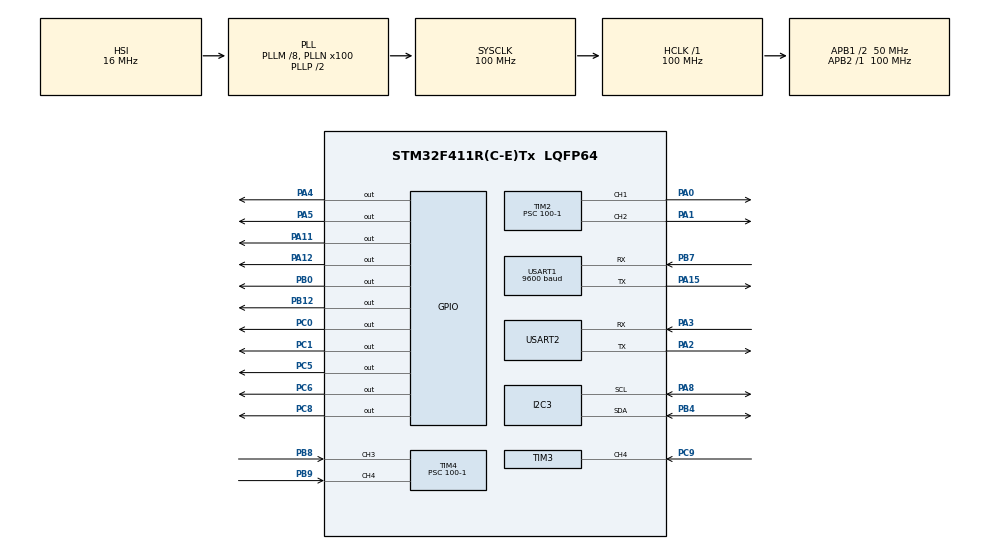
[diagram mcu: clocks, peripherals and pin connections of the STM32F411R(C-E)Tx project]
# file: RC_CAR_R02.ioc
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Mcu.Family=STM32F4
Mcu.Name=STM32F411R(C-E)Tx
Mcu.Package=LQFP64
NVIC.PriorityGroup=NVIC_PRIORITYGROUP_4
NVIC.TIM3_IRQn=true\:0\:0\:false\:false\:true\:true\:true\:true
NVIC.TIM4_IRQn=true\:0\:0\:false\:false\:true\:true\:true\:true
NVIC.USART1_IRQn=true\:0\:0\:false\:false\:true\:true\:true\:true
NVIC.USART2_IRQn=true\:0\:0\:false\:false\:true\:true\:true\:true
PA0-WKUP.Signal=S_TIM2_CH1_ETR
PA1.Signal=S_TIM2_CH2
PA11.Signal=GPIO_Output
PA12.Signal=GPIO_Output
PA13.Mode=Serial_Wire
PA13.Signal=SYS_JTMS-SWDIO
PA14.Mode=Serial_Wire
PA14.Signal=SYS_JTCK-SWCLK
PA15.Mode=Asynchronous
PA15.Signal=USART1_TX
PA2.Mode=Asynchronous
PA2.Signal=USART2_TX
PA3.Mode=Asynchronous
PA3.Signal=USART2_RX
PA4.Signal=GPIO_Output
PA5.Signal=GPIO_Output
PA8.GPIO_Pu=GPIO_PULLUP
PA8.Mode=I2C
PA8.Signal=I2C3_SCL
PB0.Signal=GPIO_Output
PB12.Signal=GPIO_Output
PB4.GPIO_Pu=GPIO_PULLUP
PB4.Mode=I2C
PB4.Signal=I2C3_SDA
PB7.Mode=Asynchronous
PB7.Signal=USART1_RX
PB8.Signal=S_TIM4_CH3
PB9.Signal=S_TIM4_CH4
PC0.Signal=GPIO_Output
PC1.Signal=GPIO_Output
PC5.Signal=GPIO_Output
PC6.Signal=GPIO_Output
PC8.Signal=GPIO_Output
PC9.Signal=S_TIM3_CH4
ProjectManager.HeapSize=0x200
ProjectManager.StackSize=0x400
ProjectManager.TargetToolchain=STM32CubeIDE
RCC.48MHZClocksFreq_Value=50000000
RCC.AHBFreq_Value=100000000
RCC.APB1CLKDivider=RCC_HCLK_DIV2
RCC.APB1Freq_Value=50000000
RCC.APB1TimFreq_Value=100000000
RCC.APB2Freq_Value=100000000
RCC.APB2TimFreq_Value=100000000
RCC.CortexFreq_Value=100000000
RCC.HCLKFreq_Value=100000000
RCC.HSE_VALUE=8000000
RCC.HSI_VALUE=16000000
RCC.LSE_VALUE=32768
RCC.PLLM=8
RCC.PLLN=100
RCC.SYSCLKFreq_VALUE=100000000
RCC.SYSCLKSource=RCC_SYSCLKSOURCE_PLLCLK
RCC.VCOOutputFreq_Value=200000000
SH.S_TIM2_CH1_ETR.0=TIM2_CH1,PWM Generation1 CH1
SH.S_TIM2_CH2.0=TIM2_CH2,PWM Generation2 CH2
SH.S_TIM3_CH4.0=TIM3_CH4,Input_Capture4_from_TI4
SH.S_TIM4_CH3.0=TIM4_CH3,Input_Capture3_from_TI3
SH.S_TIM4_CH4.0=TIM4_CH4,Input_Capture4_from_TI4
TIM11.Prescaler=100-1
TIM2.Channel-PWM\ Generation1\ CH1=TIM_CHANNEL_1
TIM2.Channel-PWM\ Generation2\ CH2=TIM_CHANNEL_2
TIM2.Period=1000-1
TIM2.Prescaler=100-1
TIM3.Channel-Input_Capture4_from_TI4=TIM_CHANNEL_4
TIM3.ICFilter_CH4=4
TIM3.Prescaler=100-1
TIM4.Channel-Input_Capture3_from_TI3=TIM_CHANNEL_3
TIM4.Channel-Input_Capture4_from_TI4=TIM_CHANNEL_4
TIM4.ICFilter_CH3=4
TIM4.Prescaler=100-1
USART1.BaudRate=9600
USART1.VirtualMode=VM_ASYNC
USART2.VirtualMode=VM_ASYNC
VP_TIM11_VS_ClockSourceINT.Mode=Enable_Timer
VP_TIM2_VS_ClockSourceINT.Mode=Internal
board=custom

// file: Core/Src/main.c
/* USER CODE BEGIN Header */
/**
  ******************************************************************************
  * @file           : main.c
  * @brief          : Main program body
  ******************************************************************************
  * @attention
  *
  * Copyright (c) 2026 STMicroelectronics.
  * All rights reserved.
  *
  * This software is licensed under terms that can be found in the LICENSE file
  * in the root directory of this software component.
  * If no LICENSE file comes with this software, it is provided AS-IS.
  *
  ******************************************************************************
  */
/* USER CODE END Header */
#include "main.h"
#include "i2c.h"
#include "tim.h"
#include "usart.h"
#include "gpio.h"

/* USER CODE BEGIN Includes */

#include "car.h"
#include "direction.h"
#include "speed.h"
#include "delay.h"
#include "stdio.h"
//#include "ledbar.h"
#include "ultrasonic.h"
#include "statemachine.h"
#include "ina219.h"

/* USER CODE END Includes */

/* USER CODE BEGIN PM */

#ifdef __GNUC__
/* With GCC small printf (option LD Linker->Libraries->Small printf
 * set to 'Yes') calls __io_putchar() */
#define PUTCHAR_PROTOTYPE int  __io_putchar(int ch)
#else
#define PUTCHAR_PROTOTYPE int  fputc(int ch, FILE *f)
#endif /* __GNUC__*/

/** @brief Retargets the C library printf function to the USART.
 *  @param None
 *  @retval None
 */
PUTCHAR_PROTOTYPE
{
  /* Place your implementation of fputc here */
  /* e.g. write a character to the USART2 and Loop
     until the end of transmission */
  if(ch == '\n')
  {
	  HAL_UART_Transmit(&huart2, (uint8_t*) "\r", 1, 0xFFFF);
  }
   HAL_UART_Transmit(&huart2, (uint8_t*) &ch, 1, 0xFFFF);\
   return ch;
}

/* USER CODE END PM */

/* USER CODE BEGIN PV */

//
//volatile uint8_t rxData[1];
//volatile uint8_t rxFlag = 0;
//volatile uint8_t rxCmd = 0;
volatile float v_bus = 0.0f;
volatile float i_ma = 0.0f;
volatile float spd_100_v[20] = {0.0f};
volatile float spd_100_i[20] = {0.0f};
volatile float spd_60_v[30] = {0.0f};
volatile float spd_60_i[30] = {0.0f};

/* USER CODE END PV */

void SystemClock_Config(void);
/* USER CODE BEGIN PFP */

//
//void HAL_TIM_IC_CaptureCallback(TIM_HandleTypeDef *htim)
//{
//
//  Ultrasonic_IC_CaptureCallback(htim);
//}

/* USER CODE END PFP */

int main(void)
{

  /* MCU Configuration--------------------------------------------------------*/

  /* Reset of all peripherals, Initializes the Flash interface and the Systick. */
  HAL_Init();

  /* Configure the system clock */
  SystemClock_Config();

  /* Initialize all configured peripherals */
  MX_GPIO_Init();
  MX_TIM2_Init();
  MX_USART2_UART_Init();
  MX_TIM3_Init();
  MX_TIM4_Init();
  MX_TIM11_Init();
  MX_USART1_UART_Init();
  MX_I2C3_Init();
  /* USER CODE BEGIN 2 */

  STMACHINE_Init();

  HAL_TIM_Base_Start(&htim11);                  // for delay_us function

//  Car_Move(CAR_FRONT, SPD_100);
//
//
//
//  		for (int var = 0; var < 20; var++)
//  		{
//  			v_bus = INA219_ReadBusVoltage(&hi2c3);
//  			i_ma = INA219_ReadCurrent(&hi2c3);
//  			spd_100_v[var] = v_bus;
//  			spd_100_i[var] = i_ma;
//
//  			HAL_Delay(1000);
//  		}
//  	Car_Stop();

//  	Car_Move(CAR_FRONT, SPD_60);
//
//
//
//  	  		for (int var = 0; var <= 20; var++)
//  	  		{
//  	  			v_bus = INA219_ReadBusVoltage(&hi2c3);
//  	  			i_ma = INA219_ReadCurrent(&hi2c3);
//  	  			spd_60_v[var] = v_bus;
//  	  			spd_60_i[var] = i_ma;
//
//  	  			HAL_Delay(1000);
//  	  		}
//  	  	Car_Stop();

  /* USER CODE END 2 */

  /* Infinite loop */
  /* USER CODE BEGIN WHILE */

  while (1)
  {

//	  SHOW_UART2();

	  ST_MACHINE();

    /* USER CODE END WHILE */

  }
}

void SystemClock_Config(void)
{
  RCC_OscInitTypeDef RCC_OscInitStruct = {0};
  RCC_ClkInitTypeDef RCC_ClkInitStruct = {0};

  /** Configure the main internal regulator output voltage
  */
  __HAL_RCC_PWR_CLK_ENABLE();
  __HAL_PWR_VOLTAGESCALING_CONFIG(PWR_REGULATOR_VOLTAGE_SCALE1);

  /** Initializes the RCC Oscillators according to the specified parameters
  * in the RCC_OscInitTypeDef structure.
  */
  RCC_OscInitStruct.OscillatorType = RCC_OSCILLATORTYPE_HSI;
  RCC_OscInitStruct.HSIState = RCC_HSI_ON;
  RCC_OscInitStruct.HSICalibrationValue = RCC_HSICALIBRATION_DEFAULT;
  RCC_OscInitStruct.PLL.PLLState = RCC_PLL_ON;
  RCC_OscInitStruct.PLL.PLLSource = RCC_PLLSOURCE_HSI;
  RCC_OscInitStruct.PLL.PLLM = 8;
  RCC_OscInitStruct.PLL.PLLN = 100;
  RCC_OscInitStruct.PLL.PLLP = RCC_PLLP_DIV2;
  RCC_OscInitStruct.PLL.PLLQ = 4;
  if (HAL_RCC_OscConfig(&RCC_OscInitStruct) != HAL_OK)
  {
    Error_Handler();
  }

  /** Initializes the CPU, AHB and APB buses clocks
  */
  RCC_ClkInitStruct.ClockType = RCC_CLOCKTYPE_HCLK|RCC_CLOCKTYPE_SYSCLK
                              |RCC_CLOCKTYPE_PCLK1|RCC_CLOCKTYPE_PCLK2;
  RCC_ClkInitStruct.SYSCLKSource = RCC_SYSCLKSOURCE_PLLCLK;
  RCC_ClkInitStruct.AHBCLKDivider = RCC_SYSCLK_DIV1;
  RCC_ClkInitStruct.APB1CLKDivider = RCC_HCLK_DIV2;
  RCC_ClkInitStruct.APB2CLKDivider = RCC_HCLK_DIV1;

  if (HAL_RCC_ClockConfig(&RCC_ClkInitStruct, FLASH_LATENCY_3) != HAL_OK)
  {
    Error_Handler();
  }
}

void Error_Handler(void)
{
  __disable_irq();
  while (1)
  {
  }
}
